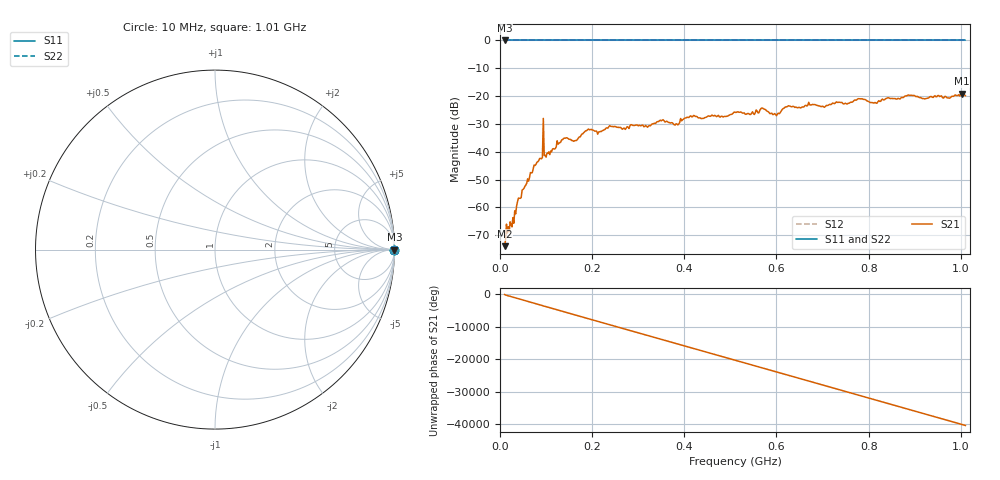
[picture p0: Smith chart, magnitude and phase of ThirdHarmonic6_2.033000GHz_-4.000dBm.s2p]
! 8/17/2025 12:23:18 AM
! C:\ANRITSUVNA\TEMP\TEMP.S2P
! CHANNEL.1
! TR.MEASUREMENT
! RAW.DATA
! RF.CORRECTION.OFF
! AVERAGING.OFF
! IF.BANDWIDTH: 5KHZ
! SWEEPTYPE:  FREQ.SWEEP(Linear)
! Reference Plane Port Info
! PORT:  PORT1  PORT2
! DISTANCE:  0  m  0  m
! TIME:  0  s  0  s
! PHASE.OFFSET:  0  deg.  0  deg.
! LOSS:  0  dB  0  dB
! REF.LOSS:  0  dB  0  dB
! REF.FREQ:  0  Hz  0  Hz
! Power Info
! POWER:  -20  dBm  -20  dBm
! EFF.POWER:  -20  dBm  -20  dBm
! SOURCE.ATTEN:  0  dB  0  dB
! TEST.ATTEN:  0  dB  0  dB
# GHZ S RI R 50.0
! FREQ.GHZ  S11RE  S11IM  S21RE  S21IM  S12RE  S12IM  S22RE  S22IM
!; PortSelection: Port_12
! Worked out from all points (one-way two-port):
!   501 points, 10 MHz to 1.01 GHz, reference 50 ohm
!   highest |S21| = -19.13 dB at 1.002 GHz (marker M1); lowest = -73.9 dB at 10 MHz (marker M2)
!   lowest |S11| = 0.0 dB at 10 MHz (marker M3)
!   |S11| at or under -10 dB: nowhere
!   |S22| runs from 0.0 to 0.0 dB; largest |S21 - S12| = 1.1
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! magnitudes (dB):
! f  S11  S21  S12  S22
! 10 MHz  0.0  -73.9  0.0  0.0
! 18 MHz  0.0  -66.9  0.0  0.0
! 30 MHz  0.0  -65.7  0.0  0.0
! 40 MHz  0.0  -56.7  0.0  0.0
! 88 MHz  0.0  -42.4  0.0  0.0
! 90 MHz  0.0  -42.5  0.0  0.0
! 98 MHz  0.0  -41.3  0.0  0.0
! 100 MHz  0.0  -41.9  0.0  0.0
! 138 MHz  0.0  -35.2  0.0  0.0
! 162 MHz  0.0  -36.1  0.0  0.0
! 178 MHz  0.0  -33.6  0.0  0.0
! 344 MHz  0.0  -29.2  0.0  0.0
! 382 MHz  0.0  -29.9  0.0  0.0
! 416 MHz  0.0  -27.5  0.0  0.0
! 510 MHz  0.0  -25.8  0.0  0.0
! 570 MHz  0.0  -24.4  0.0  0.0
! 596 MHz  0.0  -26.3  0.0  0.0
! 624 MHz  0.0  -23.7  0.0  0.0
! 678 MHz  0.0  -23.0  0.0  0.0
! 844 MHz  0.0  -20.7  0.0  0.0
! 1.002 GHz  0.0  -19.1  0.0  0.0
! 1.01 GHz  0.0  -19.9  0.0  0.0
